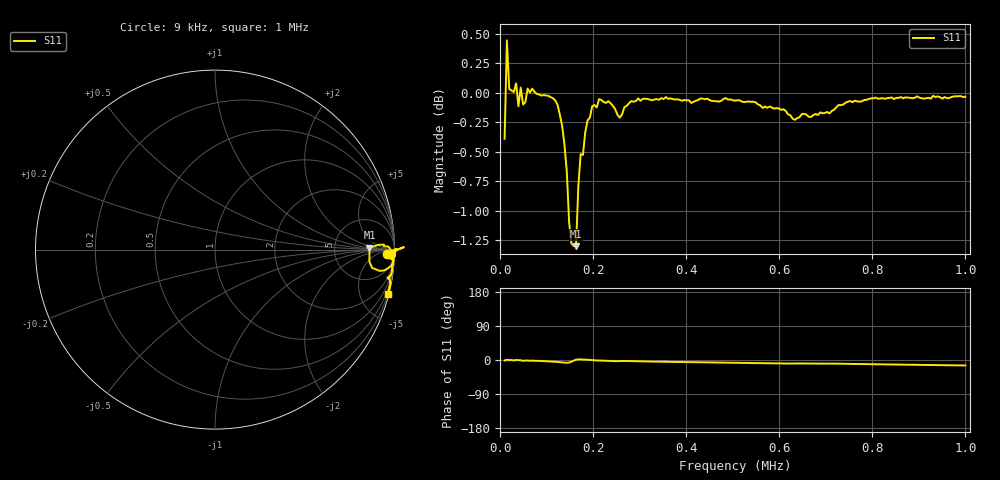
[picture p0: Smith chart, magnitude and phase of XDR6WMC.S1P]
!Agilent Technologies,E5071C,MY46100305,A.07.02
!Date: Fri Jan 01 00:45:17 1988
!Data & Calibration Information:
!Freq	S11:SOLT1(ON)
# Hz S MA R 50
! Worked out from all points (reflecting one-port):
!   201 points, 9 kHz to 1 MHz, reference 50 ohm
!   lowest |S11| = -1.3 dB at 162.6 kHz (marker M1), VSWR 13.36, Z = 664 + j52.7 ohm
!   phase of S11 starts at -1 deg and turns -13 deg over the sweep
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9000  0.9561 -1.4
13955  1.053 0.7
18910  1.004 -0.3
23865  1.002 -0.0
28820  1.001 -1.3
33775  1.009 0.2
38730  0.987 -0.4
43685  1.005 -0.7
48640  0.9887 -2.1
68460  1.004 -1.5
103145  0.9971 -3.3
122965  0.9883 -5.1
132875  0.9678 -6.2
142785  0.9255 -7.4
147740  0.8812 -6.6
162605  0.8607 0.7
167560  0.9126 1.7
172515  0.9418 1.7
197290  0.987 -0.6
241885  0.9874 -2.9
256750  0.976 -2.7
296390  0.9946 -3.4
380625  0.9937 -5.2
504500  0.9924 -7.3
628375  0.9752 -9.2
752250  0.9921 -10.3
876125  0.9954 -12.4
1000000  0.9963 -14.4
